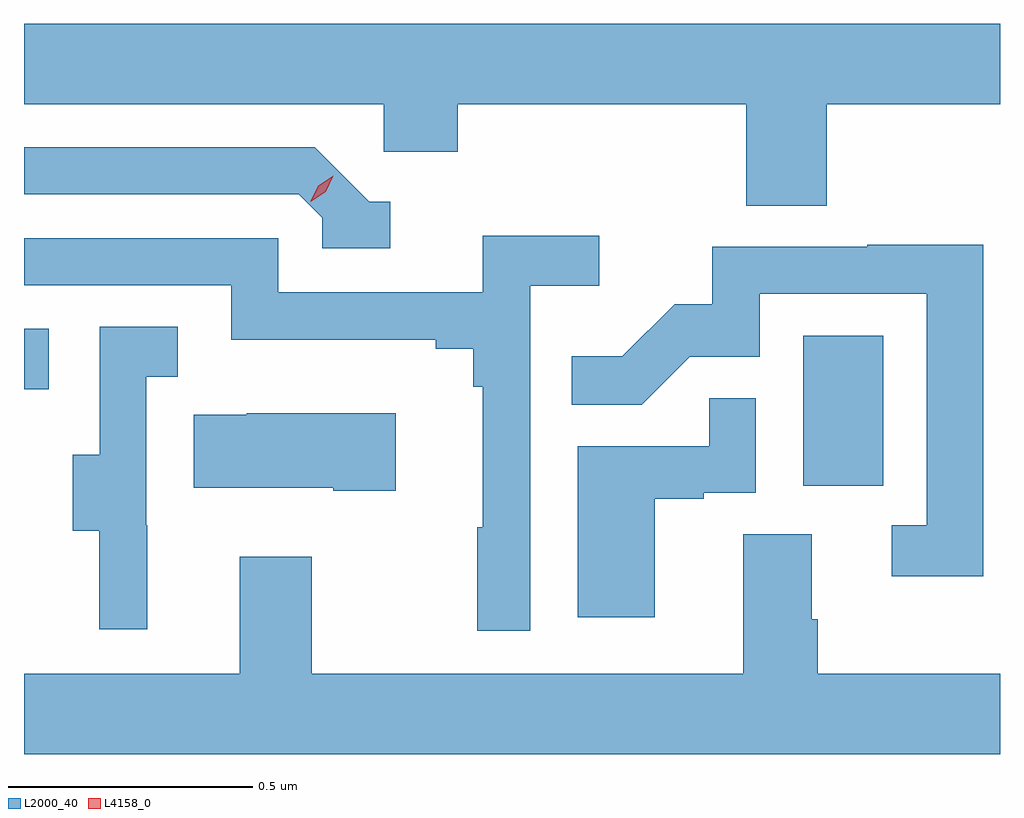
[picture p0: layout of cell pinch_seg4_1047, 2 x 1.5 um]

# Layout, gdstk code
import gdstk
lib = gdstk.Library(unit=1e-6, precision=1e-09)
def R(c, l, rs):  # rectangles x0, y0, x1, y1
    for r in rs: c.add(gdstk.rectangle(r[:2], r[2:], *l))
def P(c, l, *ps):  # polygons
    for p in ps: c.add(gdstk.Polygon(p, *l))
L2000_40 = (2000, 40)
L4158_0 = (4158, 0)

pinch_seg4_1047 = lib.new_cell('pinch_seg4_1047')
R(pinch_seg4_1047, L2000_40, [(816.932,785.382,817.096,785.689), (815.335,785.579,815.386,785.703)])
P(pinch_seg4_1047, L2000_40, [(816.98,786.164),(817.335,786.164),(817.335,786.328),(815.335,786.328),(815.335,786.164),(816.072,786.164),(816.072,786.066),(816.224,786.066),(816.224,786.164),(816.815,786.164),(816.815,785.956),(816.98,785.956)],
  [(816.085,785.964),(816.042,785.964),(815.931,786.075),(815.335,786.075),(815.335,785.979),(815.898,785.979),(815.946,785.931),(815.946,785.868),(816.085,785.868)],
  [(816.372,785.792),(816.514,785.792),(816.514,785.894),(816.275,785.894),(816.275,785.778),(815.856,785.778),(815.856,785.889),(815.335,785.889),(815.335,785.793),(815.76,785.793),(815.76,785.681),(816.179,785.681),(816.179,785.662),(816.256,785.662),(816.256,785.585),(816.275,785.585),(816.275,785.297),(816.264,785.297),(816.264,785.085),(816.372,785.085)],
  [(817.301,785.876),(817.063,785.876),(817.063,785.871),(816.745,785.871),(816.745,785.754),(816.668,785.754),(816.561,785.647),(816.457,785.647),(816.457,785.548),(816.601,785.548),(816.699,785.646),(816.843,785.646),(816.843,785.775),(817.185,785.775),(817.185,785.301),(817.113,785.301),(817.113,785.196),(817.301,785.196)],
  [(815.588,785.301),(815.586,785.301),(815.586,785.605),(815.65,785.605),(815.65,785.708),(815.49,785.708),(815.49,785.445),(815.435,785.445),(815.435,785.29),(815.489,785.29),(815.489,785.088),(815.588,785.088)],
  [(816.628,785.355),(816.728,785.355),(816.728,785.367),(816.834,785.367),(816.834,785.561),(816.739,785.561),(816.739,785.463),(816.47,785.463),(816.47,785.112),(816.628,785.112)],
  [(816.097,785.53),(815.791,785.53),(815.791,785.527),(815.683,785.527),(815.683,785.378),(815.969,785.378),(815.969,785.371),(816.097,785.371)],
  [(817.335,784.996),(816.962,784.996),(816.962,785.108),(816.949,785.108),(816.949,785.282),(816.809,785.282),(816.809,784.996),(815.925,784.996),(815.925,785.236),(815.777,785.236),(815.777,784.996),(815.335,784.996),(815.335,784.832),(817.335,784.832)])
P(pinch_seg4_1047, L4158_0, [(815.923,785.964),(815.923,785.965),(815.938,785.997),(815.969,786.017),(815.969,786.017),(815.969,786.017),(815.953,785.984),(815.923,785.964)])

lib.write_gds('pinch_seg4_1047.gds')
